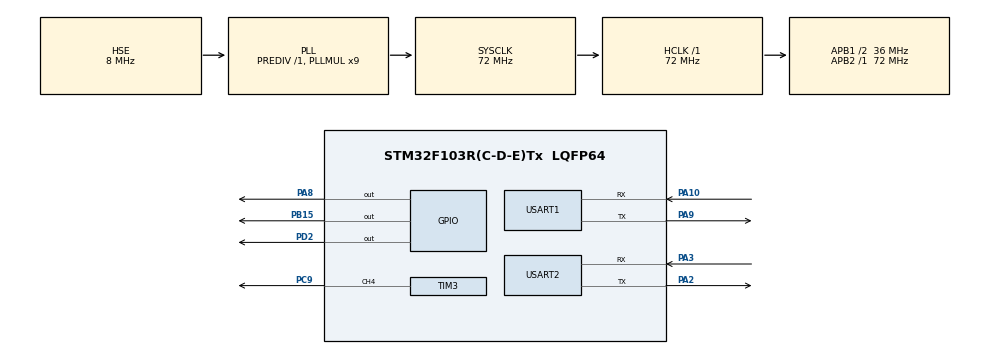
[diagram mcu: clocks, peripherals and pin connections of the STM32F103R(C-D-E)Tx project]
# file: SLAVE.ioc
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Mcu.Family=STM32F1
Mcu.Name=STM32F103R(C-D-E)Tx
Mcu.Package=LQFP64
NVIC.PriorityGroup=NVIC_PRIORITYGROUP_4
NVIC.USART2_IRQn=true\:3\:0\:true\:false\:true\:true\:true\:true
PA10.Mode=Asynchronous
PA10.Signal=USART1_RX
PA13.Mode=Serial_Wire
PA13.Signal=SYS_JTMS-SWDIO
PA14.Mode=Serial_Wire
PA14.Signal=SYS_JTCK-SWCLK
PA2.Mode=Asynchronous
PA2.Signal=USART2_TX
PA3.Mode=Asynchronous
PA3.Signal=USART2_RX
PA8.PinState=GPIO_PIN_SET
PA8.Signal=GPIO_Output
PA9.Mode=Asynchronous
PA9.Signal=USART1_TX
PB15.PinState=GPIO_PIN_RESET
PB15.Signal=GPIO_Output
PC9.Signal=S_TIM3_CH4
PD0-OSC_IN.Mode=HSE-External-Oscillator
PD0-OSC_IN.Signal=RCC_OSC_IN
PD1-OSC_OUT.Mode=HSE-External-Oscillator
PD1-OSC_OUT.Signal=RCC_OSC_OUT
PD2.Signal=GPIO_Output
ProjectManager.HeapSize=0x200
ProjectManager.StackSize=0x400
ProjectManager.TargetToolchain=MDK-ARM V5.32
RCC.AHBFreq_Value=72000000
RCC.APB1CLKDivider=RCC_HCLK_DIV2
RCC.APB1Freq_Value=36000000
RCC.APB1TimFreq_Value=72000000
RCC.APB2Freq_Value=72000000
RCC.APB2TimFreq_Value=72000000
RCC.HCLKFreq_Value=72000000
RCC.PLLMUL=RCC_PLL_MUL9
RCC.PLLSourceVirtual=RCC_PLLSOURCE_HSE
RCC.SYSCLKFreq_VALUE=72000000
RCC.SYSCLKSource=RCC_SYSCLKSOURCE_PLLCLK
RCC.USBFreq_Value=72000000
SH.S_TIM3_CH4.0=TIM3_CH4,PWM Generation4 CH4
TIM2.Prescaler=71
TIM3.AutoReloadPreload=TIM_AUTORELOAD_PRELOAD_ENABLE
TIM3.Channel-PWM\ Generation4\ CH4=TIM_CHANNEL_4
TIM3.Period=200
TIM3.Prescaler=7200
TIM3.Pulse-PWM\ Generation4\ CH4=0
USART1.VirtualMode=VM_ASYNC
USART2.VirtualMode=VM_ASYNC
VP_TIM2_VS_ClockSourceINT.Mode=Internal
VP_TIM3_VS_ClockSourceINT.Mode=Internal
board=custom

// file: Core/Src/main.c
/* USER CODE BEGIN Header */
/**
  ******************************************************************************
  * @file           : main.c
  * @brief          : Main program body
  ******************************************************************************
  * @attention
  *
  * Copyright (c) 2023 STMicroelectronics.
  * All rights reserved.
  *
  * This software is licensed under terms that can be found in the LICENSE file
  * in the root directory of this software component.
  * If no LICENSE file comes with this software, it is provided AS-IS.
  *
  ******************************************************************************
  */
/* USER CODE END Header */
#include "main.h"
#include "tim.h"
#include "usart.h"
#include "gpio.h"

/* USER CODE BEGIN Includes */

#include "YL47_DHT11.h"

#include "GY_302_BH1750.h"

#include "usart.h"
#include <string.h>

void Usart_SendString(uint8_t *str);

      void Usart_SendString(uint8_t *str);
      void Init_esp8266_01s(void);

/* USER CODE END Includes */

/* USER CODE BEGIN PV */

        static uint8_t temp=0;
        static uint8_t hum=0;

        char RxBuffer[256];
        uint8_t aRxBuffer=0;
        uint8_t Rx_Cnt = 0;
    static    uint8_t phone_state=0;
    static    uint8_t curtain_state=0;

/* USER CODE END PV */

void SystemClock_Config(void);

int main(void)
{

  /* MCU Configuration--------------------------------------------------------*/

  /* Reset of all peripherals, Initializes the Flash interface and the Systick. */
  HAL_Init();

  /* Configure the system clock */
  SystemClock_Config();

  /* Initialize all configured peripherals */
  MX_GPIO_Init();
  MX_TIM3_Init();
  MX_TIM2_Init();
  MX_USART1_UART_Init();
  MX_USART2_UART_Init();
  /* USER CODE BEGIN 2 */
    HAL_TIM_PWM_Start(&htim3,TIM_CHANNEL_4);
    DR_init();
    BH1750_SDA_SCL_init();

    HAL_UART_Receive_IT(&huart2, (uint8_t *)&aRxBuffer, 1);
    Init_esp8266_01s();

  /* USER CODE END 2 */

  /* Infinite loop */
  while (1)
  {

    /* USER CODE BEGIN 3 */

    DHT11_Start();
    Get_LIght_Intensity();
    temp=rx_buf[0];
    hum=rx_buf[1];

    printf("AT+MQTTPUB=0\,\"tophone\"\,\"{\\\"Temp\\\":%d\\\,\\\"Hum\\\":%d\\\,\\\"Light\\\":%d}\"\,0\,0\r\n",temp,hum,light);

    HAL_GPIO_TogglePin(GPIOA,GPIO_PIN_8);

    HAL_Delay(4000);

  }
  /* USER CODE END 3 */
}

void SystemClock_Config(void)
{
  RCC_OscInitTypeDef RCC_OscInitStruct = {0};
  RCC_ClkInitTypeDef RCC_ClkInitStruct = {0};

  /** Initializes the RCC Oscillators according to the specified parameters
  * in the RCC_OscInitTypeDef structure.
  */
  RCC_OscInitStruct.OscillatorType = RCC_OSCILLATORTYPE_HSE;
  RCC_OscInitStruct.HSEState = RCC_HSE_ON;
  RCC_OscInitStruct.HSEPredivValue = RCC_HSE_PREDIV_DIV1;
  RCC_OscInitStruct.HSIState = RCC_HSI_ON;
  RCC_OscInitStruct.PLL.PLLState = RCC_PLL_ON;
  RCC_OscInitStruct.PLL.PLLSource = RCC_PLLSOURCE_HSE;
  RCC_OscInitStruct.PLL.PLLMUL = RCC_PLL_MUL9;
  if (HAL_RCC_OscConfig(&RCC_OscInitStruct) != HAL_OK)
  {
    Error_Handler();
  }

  /** Initializes the CPU, AHB and APB buses clocks
  */
  RCC_ClkInitStruct.ClockType = RCC_CLOCKTYPE_HCLK|RCC_CLOCKTYPE_SYSCLK
                              |RCC_CLOCKTYPE_PCLK1|RCC_CLOCKTYPE_PCLK2;
  RCC_ClkInitStruct.SYSCLKSource = RCC_SYSCLKSOURCE_PLLCLK;
  RCC_ClkInitStruct.AHBCLKDivider = RCC_SYSCLK_DIV1;
  RCC_ClkInitStruct.APB1CLKDivider = RCC_HCLK_DIV2;
  RCC_ClkInitStruct.APB2CLKDivider = RCC_HCLK_DIV1;

  if (HAL_RCC_ClockConfig(&RCC_ClkInitStruct, FLASH_LATENCY_2) != HAL_OK)
  {
    Error_Handler();
  }
}

/* USER CODE BEGIN 4 */

void Usart_SendString(uint8_t *str)
{
	unsigned int k=0;
  	do
  	{
        HAL_UART_Transmit(&huart1,(uint8_t *)(str + k) ,1,1000);
        k++;
  	} while(*(str + k)!='\0');

}
void HAL_UART_RxCpltCallback(UART_HandleTypeDef *huart)
{

    if(huart->Instance == USART2)
    {
        RxBuffer[Rx_Cnt++] = aRxBuffer;

        HAL_UART_Receive_IT(&huart2, (uint8_t *)&aRxBuffer, 1);

        if((RxBuffer[Rx_Cnt-1] == 0x0A)&&(RxBuffer[Rx_Cnt-2] == 0x0D))
        {
            if(RxBuffer[Rx_Cnt-4]=='1')
            {
                phone_state=1;
                if(phone_state!=curtain_state)
                {
                    curtain_state=1;
                     HAL_TIM_PWM_Start(&htim3, TIM_CHANNEL_4);
                     __HAL_TIM_SET_COMPARE(&htim3, TIM_CHANNEL_4,7);
                     HAL_Delay(7500);
                     HAL_TIM_PWM_Stop(&htim3, TIM_CHANNEL_4);
                }
            }

            if(RxBuffer[Rx_Cnt-4]=='0')
            {
                phone_state=0;
                if(phone_state!=curtain_state)
                {
                    curtain_state=0;
                    HAL_TIM_PWM_Start(&htim3, TIM_CHANNEL_4);
                    __HAL_TIM_SET_COMPARE(&htim3, TIM_CHANNEL_4, 25);
                    HAL_Delay(6700);
                    HAL_TIM_PWM_Stop(&htim3, TIM_CHANNEL_4);
                }
            }

         //   HAL_UART_Transmit(&huart1, (uint8_t *)&RxBuffer, Rx_Cnt-1,0xFFFF);

            Rx_Cnt = 0;
            memset(RxBuffer,0x00,sizeof(RxBuffer));
        }
    }
}

    void Init_esp8266_01s(void)
       {

uint8_t a[64]={"AT\r\n"};

uint8_t b[64]={"AT+RST\r\n"};

uint8_t c[64]={"AT+CWMODE=1\r\n"};

uint8_t d[64]={"AT+CWJAP=\"3y736y6\",\"zijipojie8\"\r\n"};

uint8_t e[64]={"AT+MQTTUSERCFG=0,1,\"ESP01s\",\"\",\"\",0,0,\"\"\r\n"};

uint8_t f[64]={"AT+MQTTCONN=0,\"broker.emqx.io\",1883,1\r\n"};

uint8_t g[64]={"AT+MQTTSUB=0,\"tocurtain\",1\r\n"};

        do{

        printf("%s",a);      //��ѯ to esp8266

        HAL_Delay(1000);

        printf("%s",b);

        HAL_Delay(3000);

        printf("%s",c);

        HAL_Delay(2000);

        printf("%s",d);
        HAL_Delay(3000);

        printf("%s",e);
        HAL_Delay(2000);

        printf("%s",f);
        HAL_Delay(5000);

        printf("%s",g);
        HAL_Delay(3000);

    }while(0);

}

/* USER CODE END 4 */

void Error_Handler(void)
{
  __disable_irq();
  while (1)
  {
  }
}
